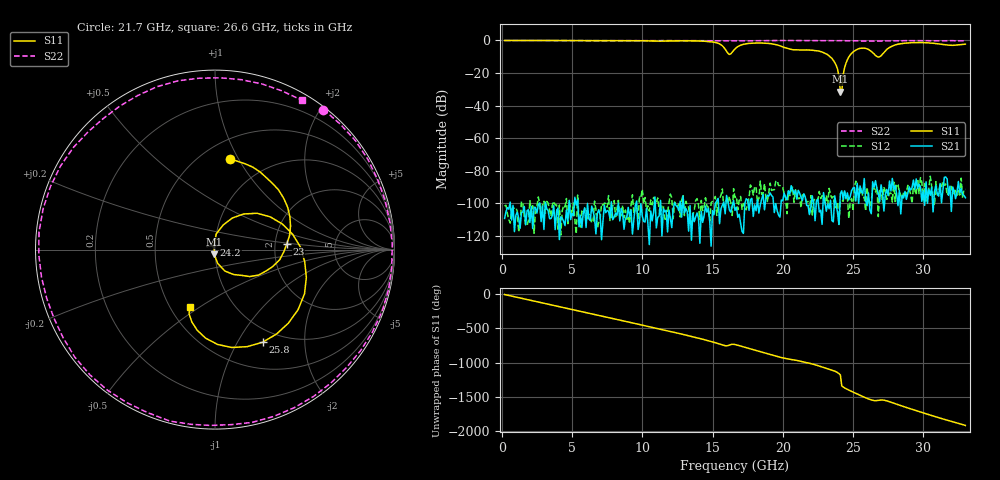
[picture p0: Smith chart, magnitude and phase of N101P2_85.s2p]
# GHZ S RI R 50
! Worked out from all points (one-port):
!   329 points, 200 MHz to 33 GHz, reference 50 ohm
!   lowest |S11| = -31.4 dB at 24.1 GHz (marker M1), VSWR 1.06, Z = 49.6 - j2.65 ohm
!   |S11| at or under -10 dB: 23.37 GHz to 24.71 GHz (1.346 GHz wide, 5.6 % of centre); 26.74 GHz to 26.91 GHz (165.9 MHz wide, 0.619 % of centre)
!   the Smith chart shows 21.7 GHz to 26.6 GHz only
!   S11 on the Smith chart (normalised r, x): 21.7 GHz: 0.67, +0.92; 23 GHz: 2.33, +0.18; 24.2 GHz: 0.99, +0.05; 25.8 GHz: 0.82, -1.28; 26.6 GHz: 0.63, -0.45
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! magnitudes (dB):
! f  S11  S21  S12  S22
! 200 MHz  0.0  -109.3  -101.7  0.0
! 5.7 GHz  -0.1  -114.9  -104.8  -0.1
! 11.2 GHz  -0.4  -107.8  -103.5  -0.1
! 15.2 GHz  -1.2  -100.1  -95.9  -0.2
! 16.2 GHz  -8.6  -104.2  -95.9  -0.2
! 16.6 GHz  -5.2  -104.4  -96.5  -0.3
! 18.5 GHz  -1.6  -97.5  -94.7  -0.1
! 21.7 GHz  -5.8  -101.4  -99.1  -0.1
! 22.1 GHz  -6.0  -95.5  -107.3  -0.1
! 23 GHz  -7.9  -99.3  -101.0  -0.1
! 23.8 GHz  -15.2  -100.8  -102.1  -0.2
! 24 GHz  -22.3  -113.1  -113.6  -0.2
! 24.1 GHz  -31.4  -94.1  -99.0  -0.1
! 24.2 GHz  -31.3  -92.4  -98.1  -0.1
! 24.3 GHz  -21.1  -97.6  -98.8  -0.1
! 24.4 GHz  -16.8  -92.5  -93.0  -0.1
! 24.7 GHz  -10.2  -97.9  -109.4  -0.2
! 25.8 GHz  -4.7  -84.9  -96.2  -0.4
! 26.6 GHz  -9.2  -86.2  -93.2  -0.3
! 27.6 GHz  -4.3  -86.4  -93.9  -0.3
! 29.2 GHz  -1.4  -90.5  -100.1  -0.1
! 33 GHz  -2.3  -96.6  -91.5  -0.3
